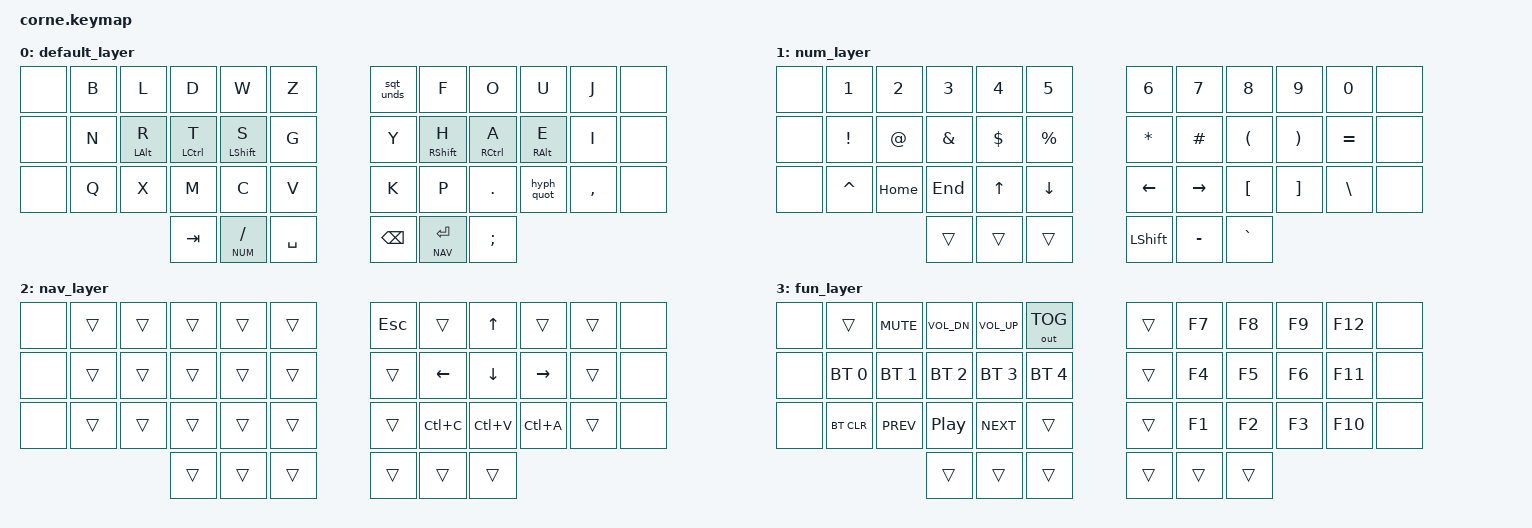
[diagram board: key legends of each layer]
/*
 * Copyright (c) 2020 The ZMK Contributors
 *
 * SPDX-License-Identifier: MIT
 */

#include <behaviors.dtsi>
#include <dt-bindings/zmk/bt.h>
#include <dt-bindings/zmk/keys.h>
#include <dt-bindings/zmk/outputs.h>

#define GRAPHITE 0
#define NUM 1
#define NAV 2
#define FUN 3

/ {
    conditional_layers {
        compatible = "zmk,conditional-layers";

        tri_layer {
            if-layers = <NUM NAV>;
            then-layer = <FUN>;
        };
    };

    behaviors {
        sqt_unds: apostrophe_underscore {
            compatible = "zmk,behavior-mod-morph";
            #binding-cells = <0>;
            bindings = <&kp SQT>, <&kp UNDER>;

            mods = <(MOD_LSFT|MOD_RSFT)>;
            keep-mods = <(MOD_RSFT)>;
        };

        hyph_quot: hyphen_doublequotes {
            compatible = "zmk,behavior-mod-morph";
            #binding-cells = <0>;
            bindings = <&kp MINUS>, <&kp DQT>;

            mods = <(MOD_LSFT|MOD_RSFT)>;
        };
    };

    keymap {
        compatible = "zmk,keymap";

        default_layer {
            // -----------------------------------------------------------------------------------------
            // |  none |  B  |  L  |  D  |  W  |  Z  |   |  '_  |  F   |  O  | U  |  J  | none |
            // | none |  N  |  R  |  T  |  S  |  G  |   |  Y  |  H   |  A  |  E  |  I  |  none |
            // | none |  Q  |  X  |  M  |  C  |  V  |   |  K  |  P   |  .  |  -"  |  ,  | none  |
            //                    | TAB | / | SPC |   | Back | Enter  | ; |

            bindings = <
&none  &kp B       &kp L       &kp D        &kp W          &kp Z        &sqt_unds      &kp F          &kp O        &kp U       &kp J       &none
&none  &kp N  &mt LALT R  &mt LCTRL T  &mt LSHFT S    &kp G        &kp Y          &mt RSHFT H    &mt RCTRL A  &mt RALT E  &kp I  &none
&none  &kp Q       &kp X       &kp M        &kp C          &kp V        &kp K          &kp P          &kp DOT      &hyph_quot  &kp COMMA   &none
                               &kp TAB      &lt NUM SLASH  &kp SPACE    &kp BACKSPACE  &lt NAV ENTER  &kp SEMI
            >;
        };

        num_layer {
            // -----------------------------------------------------------------------------------------
            // |  none |  1  |  2   |   3   |  4    |  5  |   |  6  |  7  |  8  |  9  |  0  | none |
            // | none  |  !  |   @  |   &   |   $   |  %  |   |  *  |  #  |  (  |  )  |  =  | none |
            // | none  |  ^  | HOME | END   |  UP   |DOWN |   | LEFT|RIGHT|  [  |  ]  |  \  | none |
            //                     |      |      |    |       |  SHIFT  |  -  |  GRV  |

            bindings = <
&none  &kp N1     &kp N2    &kp N3    &kp N4    &kp N5       &kp N6     &kp N7     &kp N8     &kp N9    &kp N0     &none
&none  &kp EXCL   &kp AT    &kp AMPS  &kp DLLR  &kp PRCNT    &kp STAR   &kp HASH   &kp LPAR   &kp RPAR  &kp EQUAL  &none
&none  &kp CARET  &kp HOME  &kp END   &kp UP    &kp DOWN     &kp LEFT   &kp RIGHT  &kp LBKT   &kp RBKT  &kp BSLH   &none
                            &trans    &trans    &trans       &kp LSHFT  &kp MINUS  &kp GRAVE
            >;
        };

        nav_layer {
            // -----------------------------------------------------------------------------------------
            // | none |    |    |    |    |    |   |     |     |  UP   |     |     |  none    |
            // | none |    |    |    |    |    |   |     |LEFT | DOWN  |RIGHT|     |  none    |
            // | none |    |    |    |    |    |   |     | Copy    |  PAste   | COPY all    |     |  none    |
            //                    |  (  |  )  |  _  |   |     |     |     |

            bindings = <
&none  &trans  &trans  &trans  &trans  &trans    &kp ESC  &trans     &kp UP     &trans     &trans  &none
&none  &trans  &trans  &trans  &trans  &trans    &trans   &kp LEFT   &kp DOWN   &kp RIGHT  &trans  &none
&none  &trans  &trans  &trans  &trans  &trans    &trans   &kp LC(C)  &kp LC(V)  &kp LC(A)  &trans  &none
                       &trans  &trans  &trans    &trans   &trans     &trans
            >;
        };

        fun_layer {
            // -----------------------------------------------------------------------------------------
            // | none |      |  Mute  |  VOL DN  |  VOL UP  | Out TOG |   |     |  F7   |  F8   |  F9   | F12    | none     |
            // | none |  BT0 |   BT1  |    BT2   |    BT3   |   BT4   |   |     |  F4   |  F5   |  F6   | F11    | none     |
            // | none |BT CLR|  PREV  |    PP    |   NEXT   |         |   |     |  F1   |  F2   |  F3   | F10    | none     |
            //                        |          |          |         |   |     |       |       |

            bindings = <
&none  &trans        &kp K_MUTE    &kp C_VOL_DN  &kp C_VOL_UP  &out OUT_TOG    &trans  &kp F7  &kp F8  &kp F9  &kp F12  &none
&none  &bt BT_SEL 0  &bt BT_SEL 1  &bt BT_SEL 2  &bt BT_SEL 3  &bt BT_SEL 4    &trans  &kp F4  &kp F5  &kp F6  &kp F11  &none
&none  &bt BT_CLR    &kp C_PREV    &kp C_PP      &kp C_NEXT    &trans          &trans  &kp F1  &kp F2  &kp F3  &kp F10  &none
                                   &trans        &trans        &trans          &trans  &trans  &trans
            >;
        };
    };
};
